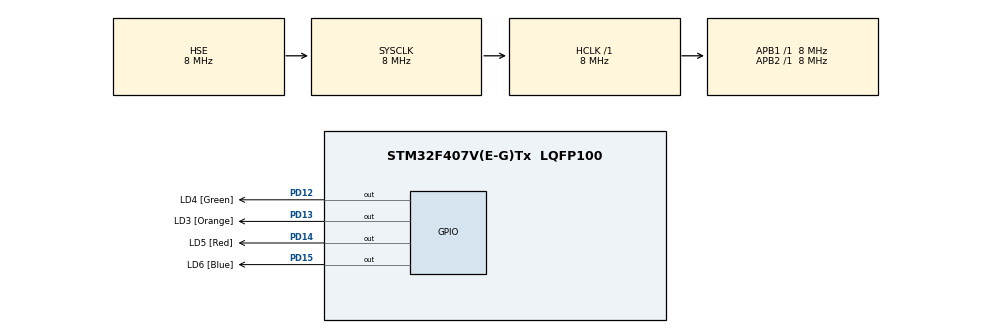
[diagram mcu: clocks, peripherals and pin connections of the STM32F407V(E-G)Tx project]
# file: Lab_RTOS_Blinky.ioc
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FREERTOS.HEAP_NUMBER=1
FREERTOS.Tasks01=defaultTask,0,128,StartDefaultTask,Default,NULL,Dynamic,NULL,NULL
FREERTOS.configTICK_RATE_HZ=100
Mcu.Family=STM32F4
Mcu.Name=STM32F407V(E-G)Tx
Mcu.Package=LQFP100
NVIC.PriorityGroup=NVIC_PRIORITYGROUP_4
PD12.GPIO_Label=LD4 [Green]
PD12.GPIO_Speed=GPIO_SPEED_FREQ_VERY_HIGH
PD12.Signal=GPIO_Output
PD13.GPIO_Label=LD3 [Orange]
PD13.GPIO_Speed=GPIO_SPEED_FREQ_VERY_HIGH
PD13.Signal=GPIO_Output
PD14.GPIO_Label=LD5 [Red]
PD14.GPIO_Speed=GPIO_SPEED_FREQ_VERY_HIGH
PD14.Signal=GPIO_Output
PD15.GPIO_Label=LD6 [Blue]
PD15.GPIO_Speed=GPIO_SPEED_FREQ_VERY_HIGH
PD15.Signal=GPIO_Output
PH0-OSC_IN.Mode=HSE-External-Oscillator
PH0-OSC_IN.Signal=RCC_OSC_IN
PH1-OSC_OUT.Mode=HSE-External-Oscillator
PH1-OSC_OUT.Signal=RCC_OSC_OUT
ProjectManager.HeapSize=0x200
ProjectManager.StackSize=0x400
ProjectManager.TargetToolchain=Makefile
RCC.48MHZClocksFreq_Value=32000000
RCC.AHBFreq_Value=8000000
RCC.APB1Freq_Value=8000000
RCC.APB1TimFreq_Value=8000000
RCC.APB2Freq_Value=8000000
RCC.APB2TimFreq_Value=8000000
RCC.CortexFreq_Value=8000000
RCC.HCLKFreq_Value=8000000
RCC.HSE_VALUE=8000000
RCC.HSI_VALUE=16000000
RCC.LSE_VALUE=32768
RCC.PLLM=4
RCC.PLLN=64
RCC.PLLSourceVirtual=RCC_PLLSOURCE_HSE
RCC.SYSCLKFreq_VALUE=8000000
RCC.SYSCLKSource=RCC_SYSCLKSOURCE_HSE
RCC.VCOOutputFreq_Value=128000000
VP_FREERTOS_VS_CMSIS_V1.Mode=CMSIS_V1
board=custom

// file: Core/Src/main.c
/* USER CODE BEGIN Header */
/**
  ******************************************************************************
  * @file           : main.c
  * @brief          : Main program body
  ******************************************************************************
  * @attention
  *
  * Copyright (c) 2023 STMicroelectronics.
  * All rights reserved.
  *
  * This software is licensed under terms that can be found in the LICENSE file
  * in the root directory of this software component.
  * If no LICENSE file comes with this software, it is provided AS-IS.
  *
  ******************************************************************************
  */
/* USER CODE END Header */
#include "main.h"
#include "FreeRTOSConfig.h"
#include "cmsis_os.h"
#include "gpio.h"

/* USER CODE BEGIN Includes */
# include "FreeRTOS.h"
# include "task.h"
# include "queue.h"
# include "semphr.h"
/* USER CODE END Includes */

void SystemClock_Config(void);
void MX_FREERTOS_Init(void);

/* USER CODE BEGIN 0 */
void vTaskLow(void* pvParameters) {
  while (1) {
    gpio_led_state(3, 1);
    gpio_led_state(4, 1);
    vTaskDelay(1000 / portTICK_RATE_MS);
    gpio_led_state(3, 0);
    gpio_led_state(4, 0);
    vTaskDelay(1000 / portTICK_RATE_MS);
  }
}

/**
  * @brief  The application entry point.
  * @retval int
  */
int main(void) {
  HAL_Init();
  SystemClock_Config();
  MX_GPIO_Init();

  xTaskCreate(
    vTaskLow,
    "TASK1",
    configMINIMAL_STACK_SIZE,
    NULL,
    1,
    NULL
  );

  vTaskStartScheduler();

  while (1);
}

/* USER CODE END 0 */

void SystemClock_Config(void)
{
  RCC_OscInitTypeDef RCC_OscInitStruct = {0};
  RCC_ClkInitTypeDef RCC_ClkInitStruct = {0};

  /** Configure the main internal regulator output voltage
  */
  __HAL_RCC_PWR_CLK_ENABLE();
  __HAL_PWR_VOLTAGESCALING_CONFIG(PWR_REGULATOR_VOLTAGE_SCALE1);

  /** Initializes the RCC Oscillators according to the specified parameters
  * in the RCC_OscInitTypeDef structure.
  */
  RCC_OscInitStruct.OscillatorType = RCC_OSCILLATORTYPE_HSE;
  RCC_OscInitStruct.HSEState = RCC_HSE_ON;
  RCC_OscInitStruct.PLL.PLLState = RCC_PLL_NONE;
  if (HAL_RCC_OscConfig(&RCC_OscInitStruct) != HAL_OK)
  {
    Error_Handler();
  }

  /** Initializes the CPU, AHB and APB buses clocks
  */
  RCC_ClkInitStruct.ClockType = RCC_CLOCKTYPE_HCLK|RCC_CLOCKTYPE_SYSCLK
                              |RCC_CLOCKTYPE_PCLK1|RCC_CLOCKTYPE_PCLK2;
  RCC_ClkInitStruct.SYSCLKSource = RCC_SYSCLKSOURCE_HSE;
  RCC_ClkInitStruct.AHBCLKDivider = RCC_SYSCLK_DIV1;
  RCC_ClkInitStruct.APB1CLKDivider = RCC_HCLK_DIV1;
  RCC_ClkInitStruct.APB2CLKDivider = RCC_HCLK_DIV1;

  if (HAL_RCC_ClockConfig(&RCC_ClkInitStruct, FLASH_LATENCY_0) != HAL_OK)
  {
    Error_Handler();
  }
}

void Error_Handler(void)
{
  __disable_irq();
  while (1)
  {
  }
}
